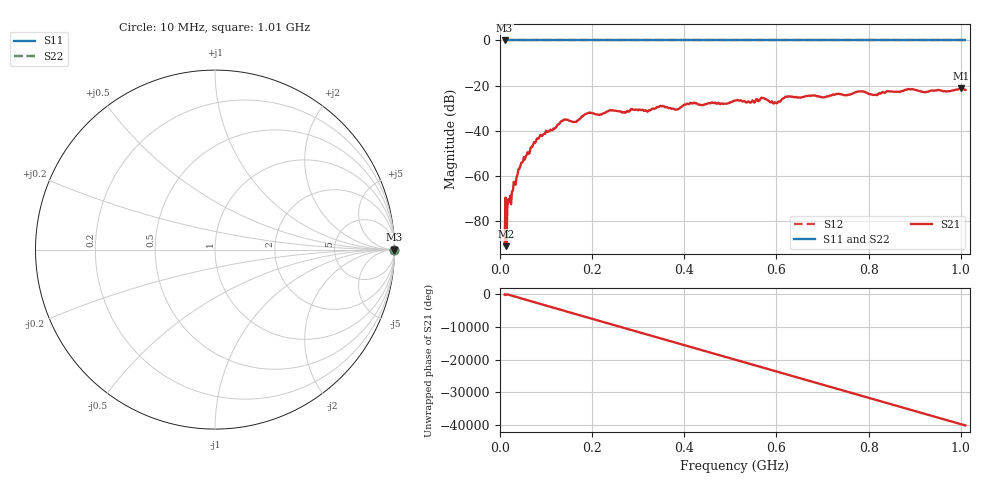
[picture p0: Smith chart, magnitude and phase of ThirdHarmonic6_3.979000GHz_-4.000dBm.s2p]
! 8/17/2025 2:10:00 PM
! C:\ANRITSUVNA\TEMP\TEMP.S2P
! CHANNEL.1
! TR.MEASUREMENT
! RAW.DATA
! RF.CORRECTION.OFF
! AVERAGING.OFF
! IF.BANDWIDTH: 5KHZ
! SWEEPTYPE:  FREQ.SWEEP(Linear)
! Reference Plane Port Info
! PORT:  PORT1  PORT2
! DISTANCE:  0  m  0  m
! TIME:  0  s  0  s
! PHASE.OFFSET:  0  deg.  0  deg.
! LOSS:  0  dB  0  dB
! REF.LOSS:  0  dB  0  dB
! REF.FREQ:  0  Hz  0  Hz
! Power Info
! POWER:  -20  dBm  -20  dBm
! EFF.POWER:  -20  dBm  -20  dBm
! SOURCE.ATTEN:  0  dB  0  dB
! TEST.ATTEN:  0  dB  0  dB
# GHZ S RI R 50.0
! FREQ.GHZ  S11RE  S11IM  S21RE  S21IM  S12RE  S12IM  S22RE  S22IM
!; PortSelection: Port_12
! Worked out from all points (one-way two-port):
!   501 points, 10 MHz to 1.01 GHz, reference 50 ohm
!   highest |S21| = -21.28 dB at 1 GHz (marker M1); lowest = -91.3 dB at 14 MHz (marker M2)
!   lowest |S11| = 0.0 dB at 10 MHz (marker M3)
!   |S11| at or under -10 dB: nowhere
!   |S22| runs from 0.0 to 0.0 dB; largest |S21 - S12| = 1.1
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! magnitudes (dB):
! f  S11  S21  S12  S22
! 10 MHz  0.0  -90.7  0.0  0.0
! 14 MHz  0.0  -91.3  0.0  0.0
! 44 MHz  0.0  -55.9  0.0  0.0
! 78 MHz  0.0  -44.9  0.0  0.0
! 136 MHz  0.0  -35.7  0.0  0.0
! 162 MHz  0.0  -36.1  0.0  0.0
! 178 MHz  0.0  -33.6  0.0  0.0
! 194 MHz  0.0  -32.0  0.0  0.0
! 322 MHz  0.0  -31.3  0.0  0.0
! 344 MHz  0.0  -29.6  0.0  0.0
! 382 MHz  0.0  -30.6  0.0  0.0
! 410 MHz  0.0  -28.3  0.0  0.0
! 510 MHz  0.0  -26.7  0.0  0.0
! 570 MHz  0.0  -25.5  0.0  0.0
! 598 MHz  0.0  -27.6  0.0  0.0
! 622 MHz  0.0  -24.9  0.0  0.0
! 678 MHz  0.0  -24.5  0.0  0.0
! 784 MHz  0.0  -22.7  0.0  0.0
! 814 MHz  0.0  -24.1  0.0  0.0
! 844 MHz  0.0  -22.6  0.0  0.0
! 1 GHz  0.0  -21.3  0.0  0.0
! 1.01 GHz  0.0  -21.9  0.0  0.0
